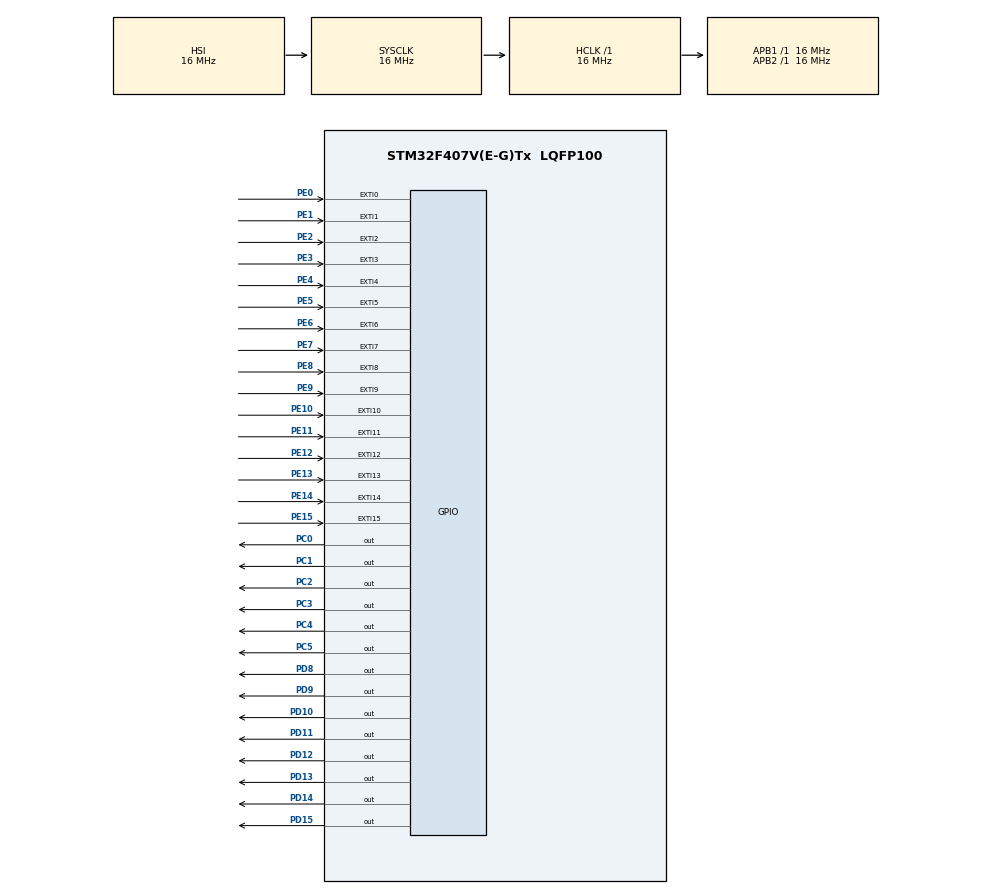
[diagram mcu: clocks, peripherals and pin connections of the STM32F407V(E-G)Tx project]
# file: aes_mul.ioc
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Mcu.Family=STM32F4
Mcu.Name=STM32F407V(E-G)Tx
Mcu.Package=LQFP100
NVIC.EXTI0_IRQn=true\:0\:0\:false\:false\:true\:true\:true\:true
NVIC.EXTI15_10_IRQn=true\:0\:0\:false\:false\:true\:true\:true\:true
NVIC.EXTI1_IRQn=true\:0\:0\:false\:false\:true\:true\:true\:true
NVIC.EXTI2_IRQn=true\:0\:0\:false\:false\:true\:true\:true\:true
NVIC.EXTI3_IRQn=true\:0\:0\:false\:false\:true\:true\:true\:true
NVIC.EXTI4_IRQn=true\:0\:0\:false\:false\:true\:true\:true\:true
NVIC.EXTI9_5_IRQn=true\:0\:0\:false\:false\:true\:true\:true\:true
NVIC.PriorityGroup=NVIC_PRIORITYGROUP_4
PC0.Signal=GPIO_Output
PC1.Signal=GPIO_Output
PC2.Signal=GPIO_Output
PC3.Signal=GPIO_Output
PC4.Signal=GPIO_Output
PC5.Signal=GPIO_Output
PD10.Signal=GPIO_Output
PD11.Signal=GPIO_Output
PD12.Signal=GPIO_Output
PD13.Signal=GPIO_Output
PD14.Signal=GPIO_Output
PD15.Signal=GPIO_Output
PD8.Signal=GPIO_Output
PD9.Signal=GPIO_Output
PE0.Signal=GPXTI0
PE1.Signal=GPXTI1
PE10.Signal=GPXTI10
PE11.Signal=GPXTI11
PE12.Signal=GPXTI12
PE13.Signal=GPXTI13
PE14.Signal=GPXTI14
PE15.Signal=GPXTI15
PE2.Signal=GPXTI2
PE3.Signal=GPXTI3
PE4.Signal=GPXTI4
PE5.Signal=GPXTI5
PE6.Signal=GPXTI6
PE7.Signal=GPXTI7
PE8.Signal=GPXTI8
PE9.Signal=GPXTI9
ProjectManager.HeapSize=0x200
ProjectManager.StackSize=0x400
ProjectManager.TargetToolchain=STM32CubeIDE
RCC.AHBFreq_Value=16000000
RCC.APB1Freq_Value=16000000
RCC.APB2Freq_Value=16000000
RCC.CortexFreq_Value=16000000
RCC.HSE_VALUE=25000000
RCC.HSI_VALUE=16000000
RCC.LSE_VALUE=32768
RCC.SYSCLKFreq_VALUE=16000000
RCC.VCOOutputFreq_Value=192000000
board=custom

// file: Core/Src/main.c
/* USER CODE BEGIN Header */
/**
  ******************************************************************************
  * @file           : main.c
  * @brief          : Main program body
  ******************************************************************************
  * @attention
  *
  * Copyright (c) 2024 STMicroelectronics.
  * All rights reserved.
  *
  * This software is licensed under terms that can be found in the LICENSE file
  * in the root directory of this software component.
  * If no LICENSE file comes with this software, it is provided AS-IS.
  *
  ******************************************************************************
  */
/* USER CODE END Header */
#include "main.h"

/* USER CODE BEGIN Includes */
#include "textlcd.h"
#include <string.h>
#include <stdio.h>
/* USER CODE END Includes */

/* USER CODE BEGIN PTD */
typedef unsigned char u8;
typedef unsigned int u32;
typedef char bool;
/* USER CODE END PTD */

/* USER CODE BEGIN PD */
#define False 0
#define True 1
/* USER CODE END PD */
bool INPUT_FLAG = False;
u8 input;
/* USER CODE BEGIN PM */

#define xtimes(a) (a<<1)^(a&0x80?0x1b:0)
#define xtimes_2(a) xtimes((xtimes(a)))
#define xtimes_3(a) xtimes((xtimes((xtimes(a)))))
#define xtimes_4(a) xtimes_2((xtimes_2(a)))
/*
#define poly_degree(poly) ( \
    ((poly) & 0x80) ? 7 : \
    ((poly) & 0x40) ? 6 : \
    ((poly) & 0x20) ? 5 : \
    ((poly) & 0x10) ? 4 : \
    ((poly) & 0x08) ? 3 : \
    ((poly) & 0x04) ? 2 : \
    ((poly) & 0x02) ? 1 : \
    ((poly) & 0x01) ? 0 : -1 )
*/
/* USER CODE END PM */

void SystemClock_Config(void);
static void MX_GPIO_Init(void);
/* USER CODE BEGIN PFP */
u8 mul(u8 a, u8 b) {
	u8 c = 0;
	c ^= (a & 0x01) ? b : 0;
	b = xtimes(b);
	c ^= (a & 0x02) ? b : 0;
	b = xtimes(b);
	c ^= (a & 0x04) ? b : 0;
	b = xtimes(b);
	c ^= (a & 0x08) ? b : 0;
	b = xtimes(b);
	c ^= (a & 0x10) ? b : 0;
	b = xtimes(b);
	c ^= (a & 0x20) ? b : 0;
	b = xtimes(b);
	c ^= (a & 0x40) ? b : 0;
	b = xtimes(b);
	c ^= (a & 0x80) ? b : 0;
	return c;
}

u8 squa(u8 a) {
    u8 ah = 0, al = 0;
    ah = ((a & 0x80) >> 1) | ((a & 0x40) >> 2) | ((a & 0x20) >> 3) | ((a & 0x10) >> 4);
    al = ((a & 0x8) << 3) | ((a & 0x4) << 2) | ((a & 0x2) << 1) | (a & 0b1);

    return xtimes_4(ah) ^ xtimes_3(ah) ^ xtimes(ah) ^ ah ^ al;
}

u8 itoh(u8 a) {
	u8 a0, a1;

	a0 = mul(a, squa(a));
	a1 = mul(a0, squa(squa(a0)));
	a1 = mul(a0, squa(squa(a1)));
	a1 = squa(mul(a, squa(a1)));

	return a1;
}

u32 poly_degree(u32 poly) {
    int deg = -1;
    while(poly) {
        poly >>= 1;
        deg++;
    }
    return deg;
}

u8 gf_mod(u8 a) {
    while(poly_degree(a) >= 8) {
        int shift = poly_degree(a) - 8;
        a ^= 0x11b << shift;
    }
    return a;
}

u8 eea(u8 a) {
    if (a == 0)
        return 0;

    u32 u = a;
    u32 v = 0x11b;
    u32 g1 = 1;
    u32 g2 = 0;

    for (int i = 0; i < 8; i++) {
        int deg_u = poly_degree(u);
        int deg_v = poly_degree(v);

        if (u == 1)
            break;

        if (deg_u < deg_v) {
            // Swap u and v
            u32 temp_u = u; u = v; v = temp_u;
            // Swap g1 and g2
            u32 temp_g = g1; g1 = g2; g2 = temp_g;
            deg_u = poly_degree(u);
            deg_v = poly_degree(v);
        }

        u8 shift = deg_u - deg_v;

        // u = u + v * x^shift
        u ^= v << shift;
        gf_mod(u);
        // g1 = g1 + g2 * x^shift
        g1 ^= g2 << shift;
        gf_mod(g1);
    }

    return (u8)g1;
}
/* USER CODE END PFP */

int main(void)
{
  /* USER CODE BEGIN 1 */
	bool START_FLAG = True;
	int num_input;
	u8 tmp[8] = { 0x00, };
	u8 num = 0;
  /* USER CODE END 1 */

  /* MCU Configuration--------------------------------------------------------*/

  /* Reset of all peripherals, Initializes the Flash interface and the Systick. */
	HAL_Init();

  /* Configure the system clock */
	SystemClock_Config();

  /* Initialize all configured peripherals */
	MX_GPIO_Init();
  /* USER CODE BEGIN 2 */
	TextlcdInit();
	clearScreen(ALL_LINE);
  /* USER CODE END 2 */

  /* Infinite loop */
  /* USER CODE BEGIN WHILE */
	while(1) {
		num = 0;
		num_input = 0;

		if(START_FLAG == True) {
			START_FLAG == False;
			clearScreen(0);
			writeTextLine(LINE_1, "EEA  >> ");
		}

		while (num_input < 2) {
			if(INPUT_FLAG == True) {
				INPUT_FLAG = False;
				if(num_input == 0) num = input & 0x0f;
				else num = (num << 4) | (input & 0x0F);

				//num ^= (num_input % 2 == 1) ? (input << 4) : input;

			    sprintf(tmp, "1.0x%02x", num);
				writeTextLine(LINE_2, tmp);

				if (num_input % 2 == 0 && num_input != 0) {
					sprintf(tmp, "2.0x%02x", num);
					writeTextLine(LINE_2, tmp);

					HAL_Delay(1000);
					clearScreen(LINE_2);

				}
				num_input++;
				HAL_Delay(300);
			}
			HAL_Delay(100);
		}
		clearScreen(ALL_LINE);
		sprintf(tmp, "inv(%02x)", num);
		writeTextLine(LINE_1, tmp);
		sprintf(tmp, "-> 0x%02x", eea(num));
		writeTextLine(LINE_2, tmp);

		num = 0;
		num_input = 0;

		HAL_Delay(2500);
	}

    /* USER CODE END WHILE */

}

void SystemClock_Config(void)
{
  RCC_OscInitTypeDef RCC_OscInitStruct = {0};
  RCC_ClkInitTypeDef RCC_ClkInitStruct = {0};

  /** Configure the main internal regulator output voltage
  */
  __HAL_RCC_PWR_CLK_ENABLE();
  __HAL_PWR_VOLTAGESCALING_CONFIG(PWR_REGULATOR_VOLTAGE_SCALE1);

  /** Initializes the RCC Oscillators according to the specified parameters
  * in the RCC_OscInitTypeDef structure.
  */
  RCC_OscInitStruct.OscillatorType = RCC_OSCILLATORTYPE_HSI;
  RCC_OscInitStruct.HSIState = RCC_HSI_ON;
  RCC_OscInitStruct.HSICalibrationValue = RCC_HSICALIBRATION_DEFAULT;
  RCC_OscInitStruct.PLL.PLLState = RCC_PLL_NONE;
  if (HAL_RCC_OscConfig(&RCC_OscInitStruct) != HAL_OK)
  {
    Error_Handler();
  }

  /** Initializes the CPU, AHB and APB buses clocks
  */
  RCC_ClkInitStruct.ClockType = RCC_CLOCKTYPE_HCLK|RCC_CLOCKTYPE_SYSCLK
                              |RCC_CLOCKTYPE_PCLK1|RCC_CLOCKTYPE_PCLK2;
  RCC_ClkInitStruct.SYSCLKSource = RCC_SYSCLKSOURCE_HSI;
  RCC_ClkInitStruct.AHBCLKDivider = RCC_SYSCLK_DIV1;
  RCC_ClkInitStruct.APB1CLKDivider = RCC_HCLK_DIV1;
  RCC_ClkInitStruct.APB2CLKDivider = RCC_HCLK_DIV1;

  if (HAL_RCC_ClockConfig(&RCC_ClkInitStruct, FLASH_LATENCY_0) != HAL_OK)
  {
    Error_Handler();
  }
}

static void MX_GPIO_Init(void)
{
  GPIO_InitTypeDef GPIO_InitStruct = {0};

  /* GPIO Ports Clock Enable */
  __HAL_RCC_GPIOE_CLK_ENABLE();
  __HAL_RCC_GPIOC_CLK_ENABLE();
  __HAL_RCC_GPIOD_CLK_ENABLE();

  /*Configure GPIO pin Output Level */
  HAL_GPIO_WritePin(GPIOC, GPIO_PIN_0|GPIO_PIN_1|GPIO_PIN_2|GPIO_PIN_3
                          |GPIO_PIN_4|GPIO_PIN_5, GPIO_PIN_RESET);

  /*Configure GPIO pin Output Level */
  HAL_GPIO_WritePin(GPIOD, GPIO_PIN_8|GPIO_PIN_9|GPIO_PIN_10|GPIO_PIN_11
                          |GPIO_PIN_12|GPIO_PIN_13|GPIO_PIN_14|GPIO_PIN_15, GPIO_PIN_RESET);

  /*Configure GPIO pins : PE2 PE3 PE4 PE5
                           PE6 PE7 PE8 PE9
                           PE10 PE11 PE12 PE13
                           PE14 PE15 PE0 PE1 */
  GPIO_InitStruct.Pin = GPIO_PIN_2|GPIO_PIN_3|GPIO_PIN_4|GPIO_PIN_5
                          |GPIO_PIN_6|GPIO_PIN_7|GPIO_PIN_8|GPIO_PIN_9
                          |GPIO_PIN_10|GPIO_PIN_11|GPIO_PIN_12|GPIO_PIN_13
                          |GPIO_PIN_14|GPIO_PIN_15|GPIO_PIN_0|GPIO_PIN_1;
  GPIO_InitStruct.Mode = GPIO_MODE_IT_RISING;
  GPIO_InitStruct.Pull = GPIO_NOPULL;
  HAL_GPIO_Init(GPIOE, &GPIO_InitStruct);

  /*Configure GPIO pins : PC0 PC1 PC2 PC3
                           PC4 PC5 */
  GPIO_InitStruct.Pin = GPIO_PIN_0|GPIO_PIN_1|GPIO_PIN_2|GPIO_PIN_3
                          |GPIO_PIN_4|GPIO_PIN_5;
  GPIO_InitStruct.Mode = GPIO_MODE_OUTPUT_PP;
  GPIO_InitStruct.Pull = GPIO_NOPULL;
  GPIO_InitStruct.Speed = GPIO_SPEED_FREQ_LOW;
  HAL_GPIO_Init(GPIOC, &GPIO_InitStruct);

  /*Configure GPIO pins : PD8 PD9 PD10 PD11
                           PD12 PD13 PD14 PD15 */
  GPIO_InitStruct.Pin = GPIO_PIN_8|GPIO_PIN_9|GPIO_PIN_10|GPIO_PIN_11
                          |GPIO_PIN_12|GPIO_PIN_13|GPIO_PIN_14|GPIO_PIN_15;
  GPIO_InitStruct.Mode = GPIO_MODE_OUTPUT_PP;
  GPIO_InitStruct.Pull = GPIO_NOPULL;
  GPIO_InitStruct.Speed = GPIO_SPEED_FREQ_LOW;
  HAL_GPIO_Init(GPIOD, &GPIO_InitStruct);

  /* EXTI interrupt init*/
  HAL_NVIC_SetPriority(EXTI0_IRQn, 0, 0);
  HAL_NVIC_EnableIRQ(EXTI0_IRQn);

  HAL_NVIC_SetPriority(EXTI1_IRQn, 0, 0);
  HAL_NVIC_EnableIRQ(EXTI1_IRQn);

  HAL_NVIC_SetPriority(EXTI2_IRQn, 0, 0);
  HAL_NVIC_EnableIRQ(EXTI2_IRQn);

  HAL_NVIC_SetPriority(EXTI3_IRQn, 0, 0);
  HAL_NVIC_EnableIRQ(EXTI3_IRQn);

  HAL_NVIC_SetPriority(EXTI4_IRQn, 0, 0);
  HAL_NVIC_EnableIRQ(EXTI4_IRQn);

  HAL_NVIC_SetPriority(EXTI9_5_IRQn, 0, 0);
  HAL_NVIC_EnableIRQ(EXTI9_5_IRQn);

  HAL_NVIC_SetPriority(EXTI15_10_IRQn, 0, 0);
  HAL_NVIC_EnableIRQ(EXTI15_10_IRQn);

}

/* USER CODE BEGIN 4 */
void HAL_GPIO_EXTI_Callback(uint16_t GPIO_Pin)
{
	for (int i = 0; i < 16; i++)
	{
		if ((GPIO_Pin >> i) == 0x0001)
		{
			input = i;
			INPUT_FLAG = True;
		}
	}
}
/* USER CODE END 4 */

void Error_Handler(void)
{
  __disable_irq();
  while (1)
  {
  }
}
